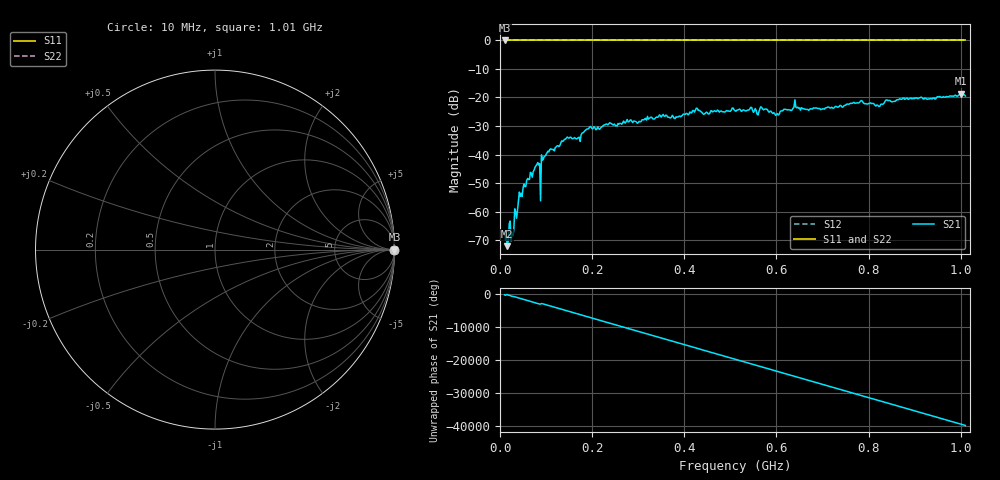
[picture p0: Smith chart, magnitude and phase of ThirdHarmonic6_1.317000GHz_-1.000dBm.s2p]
! 8/16/2025 2:37:09 PM
! C:\ANRITSUVNA\TEMP\TEMP.S2P
! CHANNEL.1
! TR.MEASUREMENT
! RAW.DATA
! RF.CORRECTION.OFF
! AVERAGING.OFF
! IF.BANDWIDTH: 5KHZ
! SWEEPTYPE:  FREQ.SWEEP(Linear)
! Reference Plane Port Info
! PORT:  PORT1  PORT2
! DISTANCE:  0  m  0  m
! TIME:  0  s  0  s
! PHASE.OFFSET:  0  deg.  0  deg.
! LOSS:  0  dB  0  dB
! REF.LOSS:  0  dB  0  dB
! REF.FREQ:  0  Hz  0  Hz
! Power Info
! POWER:  -20  dBm  -20  dBm
! EFF.POWER:  -20  dBm  -20  dBm
! SOURCE.ATTEN:  0  dB  0  dB
! TEST.ATTEN:  0  dB  0  dB
# GHZ S RI R 50.0
! FREQ.GHZ  S11RE  S11IM  S21RE  S21IM  S12RE  S12IM  S22RE  S22IM
!; PortSelection: Port_12
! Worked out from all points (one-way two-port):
!   501 points, 10 MHz to 1.01 GHz, reference 50 ohm
!   highest |S21| = -18.71 dB at 1 GHz (marker M1); lowest = -72.1 dB at 16 MHz (marker M2)
!   lowest |S11| = 0.0 dB at 10 MHz (marker M3)
!   |S11| at or under -10 dB: nowhere
!   |S22| runs from 0.0 to 0.0 dB; largest |S21 - S12| = 1.1
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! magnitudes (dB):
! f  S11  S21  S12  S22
! 10 MHz  0.0  -67.2  0.0  0.0
! 16 MHz  0.0  -72.1  0.0  0.0
! 28 MHz  0.0  -68.5  0.0  0.0
! 46 MHz  0.0  -53.6  0.0  0.0
! 78 MHz  0.0  -44.0  0.0  0.0
! 82 MHz  0.0  -42.8  0.0  0.0
! 84 MHz  0.0  -43.7  0.0  0.0
! 92 MHz  0.0  -42.0  0.0  0.0
! 94 MHz  0.0  -41.6  0.0  0.0
! 142 MHz  0.0  -34.6  0.0  0.0
! 178 MHz  0.0  -32.5  0.0  0.0
! 194 MHz  0.0  -30.5  0.0  0.0
! 344 MHz  0.0  -26.7  0.0  0.0
! 510 MHz  0.0  -24.6  0.0  0.0
! 568 MHz  0.0  -23.5  0.0  0.0
! 602 MHz  0.0  -25.7  0.0  0.0
! 642 MHz  0.0  -23.4  0.0  0.0
! 678 MHz  0.0  -24.1  0.0  0.0
! 820 MHz  0.0  -22.8  0.0  0.0
! 844 MHz  0.0  -21.0  0.0  0.0
! 1 GHz  0.0  -18.7  0.0  0.0
! 1.01 GHz  0.0  -19.5  0.0  0.0
